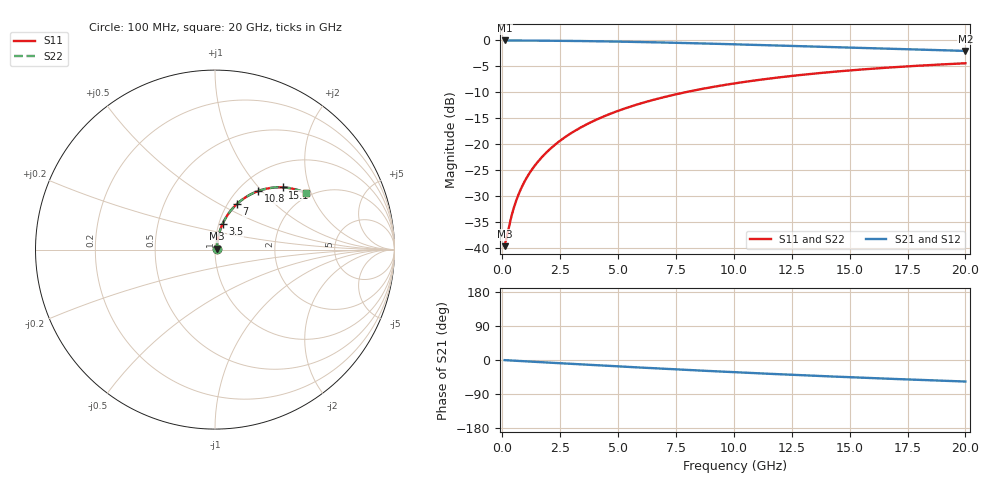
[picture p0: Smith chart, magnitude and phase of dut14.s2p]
! Touchstone file exported from HFSS 2026.1.0
!  File:  C:/ffzhzh/LocalFiles/Ansys_Project_Files/temp_test_BSMRDL_14_1782907409_8056.aedt
!  Generated:  08:05:02 PM Jul  1, 2026
!  Design:  BSMRDL
!  Project:  temp_test_BSMRDL_14_1782907409_8056
! Variables:
!  h_bsmrdl = 2.41um
!  h_ox = 20um
!  h_rdl = 5um
!  h_sub = 80um
!  h_tmrdl = 5um
!  h_tsv = 80um
!  h_via = 3um
!  l_bsmrdl = 802.72um
!  l_sub = 1202.72um
!  l_tmrdl = 200um
!  m_sub = 200um
!  pitch = 47.02um
!  r_tsv = 6um
!  s_tmrdl = 10um
!  w_bsmrdl = 12.53um
!  w_sub = 500um
!  w_tmrdl = 12um
!  x_tsv_center1 = 206um
!  x_tsv_center2 = 1021.25um
!  x_tsv_center3 = 1233.25um
!  x_tsv_center4 = 2048.5um
!  x_tsv_center5 = 2260.5um
!  x_tsv_center6 = 3075.75um
# GHz S MA R 50.000000
! Terminal data exported
! Port[1] = BSM_RDL1_1_T1
! Port[2] = BSM_RDL1_1_T2
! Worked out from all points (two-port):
!   200 points, 100 MHz to 20 GHz, reference 50 ohm
!   highest |S21| = -0.08 dB at 100 MHz (marker M1); lowest = -2.1 dB at 20 GHz (marker M2)
!   |S21| within 3 dB of the highest: start of sweep to end of sweep
!   lowest |S11| = -39.7 dB at 100 MHz (marker M3), VSWR 1.02, Z = 50.9 + j0.455 ohm
!   |S11| at or under -10 dB: start of sweep to 7.957 GHz
!   |S22| runs from -39.7 to -4.5 dB; largest |S21 - S12| = 1.2e-14
!   S11 on the Smith chart (normalised r, x): 100 MHz: 1.02, +0.01; 3.5 GHz: 1.04, +0.30; 7 GHz: 1.10, +0.61; 10.8 GHz: 1.22, +0.96; 15.1 GHz: 1.45, +1.36; 20 GHz: 1.89, +1.85
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0.1  0.0104 25.4  0.9906 -0.4  0.9906 -0.4  0.0104 25.4
! Gamma 0 0 0 0
! Port Impedance 50 0 50 0
0.3  0.01653 53.7  0.9904 -1.1  0.9904 -1.1  0.01653 53.7
0.4  0.02038 60.2  0.9902 -1.4  0.9902 -1.4  0.02038 60.2
0.6  0.0285 67.4  0.9897 -2.1  0.9897 -2.1  0.0285 67.4
0.7  0.03263 69.5  0.9894 -2.4  0.9894 -2.4  0.03263 69.5
0.9  0.04094 72.2  0.9888 -3.1  0.9888 -3.1  0.04094 72.2
1.2  0.05345 74.3  0.9879 -4.1  0.9879 -4.1  0.05345 74.3
1.7  0.07431 75.6  0.9863 -5.8  0.9863 -5.8  0.0743 75.6
2.2  0.09513 75.7  0.9843 -7.5  0.9843 -7.5  0.09513 75.7
2.8  0.12 75.0  0.9814 -9.5  0.9814 -9.5  0.12 75.0
3.5  0.1486 73.6  0.9772 -11.9  0.9772 -11.9  0.1486 73.6
4.2  0.1768 71.9  0.9724 -14.2  0.9724 -14.2  0.1768 71.9
5  0.2083 69.8  0.9659 -16.8  0.9659 -16.8  0.2083 69.8
6.8  0.2757 64.8  0.9484 -22.5  0.9484 -22.5  0.2757 64.8
7  0.2829 64.2  0.9462 -23.2  0.9462 -23.2  0.2829 64.2
8.5  0.3344 59.9  0.9289 -27.7  0.9289 -27.7  0.3344 60.0
10.1  0.3848 55.5  0.9089 -32.4  0.9089 -32.4  0.3848 55.5
10.8  0.4053 53.6  0.8998 -34.4  0.8998 -34.4  0.4053 53.6
13.4  0.4737 46.8  0.8656 -41.4  0.8656 -41.4  0.4737 46.8
15.1  0.512 42.6  0.8435 -45.6  0.8435 -45.6  0.5119 42.7
16.7  0.5437 38.9  0.8235 -49.5  0.8235 -49.5  0.5437 38.9
20  0.5975 31.6  0.7859 -56.8  0.7859 -56.8  0.5975 31.7
